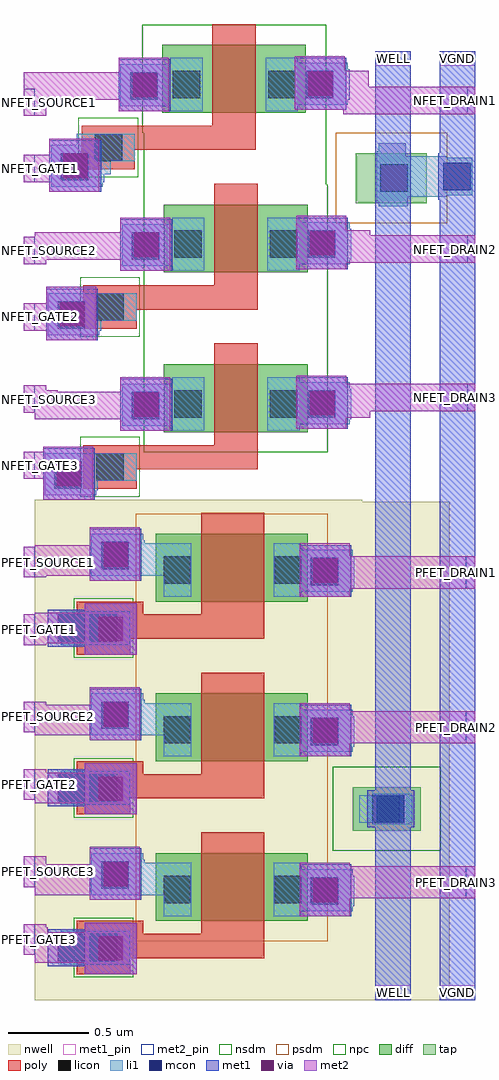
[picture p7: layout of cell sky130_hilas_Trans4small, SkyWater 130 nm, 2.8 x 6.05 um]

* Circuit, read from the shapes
.subckt sky130_hilas_Trans4small NFET_DRAIN1 NFET_DRAIN2 NFET_DRAIN3 NFET_GATE1 NFET_GATE2 NFET_GATE3 NFET_SOURCE1 NFET_SOURCE2 NFET_SOURCE3 PFET_DRAIN1 PFET_DRAIN2 PFET_DRAIN3 PFET_GATE1 PFET_GATE2 PFET_GATE3 PFET_SOURCE1 PFET_SOURCE2 PFET_SOURCE3 VGND WELL
XM1 NFET_DRAIN1 NFET_GATE1 NFET_SOURCE1 VGND sky130_fd_pr__nfet_01v8 w=0.42 l=0.27
XM2 NFET_DRAIN3 NFET_GATE3 NFET_SOURCE3 VGND sky130_fd_pr__nfet_01v8 w=0.42 l=0.27
XM3 NFET_DRAIN2 NFET_GATE2 NFET_SOURCE2 VGND sky130_fd_pr__nfet_01v8 w=0.42 l=0.27
XM4 PFET_DRAIN3 PFET_GATE3 PFET_SOURCE3 WELL sky130_fd_pr__pfet_01v8 w=0.42 l=0.39
XM5 PFET_DRAIN2 PFET_GATE2 PFET_SOURCE2 WELL sky130_fd_pr__pfet_01v8 w=0.42 l=0.39
XM6 PFET_DRAIN1 PFET_GATE1 PFET_SOURCE1 WELL sky130_fd_pr__pfet_01v8 w=0.42 l=0.39
.ends

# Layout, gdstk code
from math import pi, radians
import gdstk
lib = gdstk.Library(unit=1e-6, precision=1e-09)
def R(c, l, rs):  # rectangles x0, y0, x1, y1
    for r in rs: c.add(gdstk.rectangle(r[:2], r[2:], *l))
def A(c, l, x, y, w, h, nx, ny, dx, dy):  # array of equal rectangles
    R(c, l, [(x+i*dx, y+j*dy, x+i*dx+w, y+j*dy+h) for i in range(nx) for j in range(ny)])
nwell = (64, 20)
diff = (65, 20)
tap = (65, 44)
poly = (66, 20)
licon = (66, 44)
li1 = (67, 20)
mcon = (67, 44)
met1_pin = (68, 16)
met1 = (68, 20)
via = (68, 44)
met2_pin = (69, 16)
met2 = (69, 20)
nsdm = (93, 44)
psdm = (94, 20)
npc = (95, 20)

sky130_hilas_li2m2 = lib.new_cell('sky130_hilas_li2m2')
R(sky130_hilas_li2m2, li1, [(-0.13,-0.12,0.19,-0.09), (-0.13,-0.09,0.2,0.1), (-0.13,0.1,0.19,0.14)])
R(sky130_hilas_li2m2, mcon, [(-0.07,-0.08,0.1,0.09)])
R(sky130_hilas_li2m2, met1, [(-0.14,-0.15,0.18,0.17)])
R(sky130_hilas_li2m2, via, [(-0.055,-0.065,0.095,0.085)])
R(sky130_hilas_li2m2, met2, [(-0.14,-0.15,0.17,0.18)])

sky130_hilas_nfet03a = lib.new_cell('sky130_hilas_nFET03a')
R(sky130_hilas_nfet03a, diff, [(-0.31,-0.06,0.58,0.36)])
R(sky130_hilas_nfet03a, poly, [(-0.81,-0.41,-0.48,-0.29), (-0.81,-0.29,0.27,-0.14), (0,-0.14,0.27,0.49)])
R(sky130_hilas_nfet03a, licon, [(-0.73,-0.36,-0.56,-0.19), (-0.245,0.03,-0.075,0.2), (0.345,0.03,0.515,0.2)])
R(sky130_hilas_nfet03a, li1, [(-0.81,-0.36,-0.48,-0.19), (-0.26,-0.05,-0.06,0.28), (0.33,-0.05,0.53,0.28)])
R(sky130_hilas_nfet03a, met2, [(-1.11,0.02,-0.51,0.19), (0.75,0.03,0.97,0.2)])
R(sky130_hilas_nfet03a, nsdm, [(-0.435,-0.185,0.705,0.485)])
R(sky130_hilas_nfet03a, npc, [(-0.83,-0.46,-0.46,-0.09)])
sky130_hilas_nfet03a.add(gdstk.Reference(sky130_hilas_li2m2, (-0.44,0.1)))
sky130_hilas_nfet03a.add(gdstk.Reference(sky130_hilas_li2m2, (0.65,0.11)))

sky130_hilas_li2m1 = lib.new_cell('sky130_hilas_li2m1')
R(sky130_hilas_li2m1, li1, [(-0.08,-0.05,0.11,0.18)])
R(sky130_hilas_li2m1, mcon, [(-0.07,-0.02,0.1,0.15)])
R(sky130_hilas_li2m1, met1, [(-0.1,-0.08,0.13,0.21)])

sky130_hilas_poly2m2 = lib.new_cell('sky130_hilas_poly2m2')
R(sky130_hilas_poly2m2, poly, [(-0.09,-0.08,0.24,0.25)])
R(sky130_hilas_poly2m2, licon, [(-0.01,0,0.16,0.17)])
R(sky130_hilas_poly2m2, li1, [(-0.01,-0.2,0.16,-0.18), (-0.03,-0.18,0.18,0.25)])
R(sky130_hilas_poly2m2, mcon, [(-0.01,-0.2,0.16,-0.03)])
R(sky130_hilas_poly2m2, met1, [(-0.04,-0.26,0.19,-0.03), (-0.08,-0.03,0.24,0.29)])
R(sky130_hilas_poly2m2, via, [(0.005,0.055,0.155,0.205)])
R(sky130_hilas_poly2m2, met2, [(-0.08,-0.03,0.24,0.29)])
R(sky130_hilas_poly2m2, npc, [(-0.11,-0.1,0.26,0.27)])

sky130_hilas_pfetdevice0 = lib.new_cell('sky130_hilas_pFETdevice01e')
R(sky130_hilas_pfetdevice0, nwell, [(-1.21,-0.55,0.82,0.44)])
R(sky130_hilas_pfetdevice0, diff, [(-0.46,-0.19,0.48,0.23)])
R(sky130_hilas_pfetdevice0, poly, [(-0.8,-0.42,0.21,-0.27), (-0.8,-0.27,-0.54,-0.19), (-0.18,-0.27,0.21,0.36)])
R(sky130_hilas_pfetdevice0, licon, [(-0.41,-0.08,-0.24,0.09), (0.27,-0.08,0.44,0.09)])
R(sky130_hilas_pfetdevice0, li1, [(-0.41,-0.16,-0.24,-0.03), (0.27,-0.16,0.44,0.17), (-0.57,-0.03,-0.24,-0.01), (-0.55,-0.01,-0.24,0.17)])
R(sky130_hilas_pfetdevice0, met2, [(-1.21,-0.45,-0.83,-0.26), (-1.21,-0.03,-0.84,0.16)])
R(sky130_hilas_pfetdevice0, psdm, [(-0.585,-0.315,0.605,0.355)])
sky130_hilas_pfetdevice0.add(gdstk.Reference(sky130_hilas_poly2m2, (-0.87,-0.28), rotation=3*pi/2))
sky130_hilas_pfetdevice0.add(gdstk.Reference(sky130_hilas_li2m2, (-0.73,0.09)))
sky130_hilas_pfetdevice0.add(gdstk.Reference(sky130_hilas_li2m2, (0.57,-0.01)))

sky130_hilas_trans4small = lib.new_cell('sky130_hilas_Trans4small')
R(sky130_hilas_trans4small, nwell, [(1.98,-1.5,4.55,-1.32), (3.83,-1.32,4.55,-0.87), (4.01,-0.87,4.55,-0.45), (3.95,-0.45,4.55,-0.18), (4.01,-0.18,4.55,1.59)])
R(sky130_hilas_trans4small, tap, [(3.95,-0.45,4.37,-0.18), (3.97,3.44,4.41,3.75)])
R(sky130_hilas_trans4small, licon, [(4.07,-0.4,4.24,-0.23), (4.12,3.51,4.29,3.68)])
R(sky130_hilas_trans4small, li1, [(3.99,-0.4,4.32,-0.23), (4.11,3.42,4.29,3.45), (4.1,3.45,4.29,3.48), (4.1,3.48,4.53,3.73), (2.24,3.62,2.45,3.87), (4.1,3.73,4.28,3.76), (4.11,3.76,4.28,3.81)])
R(sky130_hilas_trans4small, met1_pin, [(4.09,-1.5,4.31,-1.41), (4.49,-1.5,4.71,-1.41), (4.09,4.29,4.31,4.38), (4.49,4.29,4.71,4.38)])
R(sky130_hilas_trans4small, met1, [(4.09,-1.5,4.31,-0.4), (4.49,-1.5,4.71,4.38), (4.07,-0.4,4.31,-0.23), (4.09,-0.23,4.31,4.38)])
A(sky130_hilas_trans4small, met2_pin, 4.65, -0.87, 0.06, 0.2, 1, 3, 0, 0.96)
A(sky130_hilas_trans4small, met2_pin, 4.66, 2.15, 0.05, 0.17, 1, 3, 0, 0.92)
R(sky130_hilas_trans4small, met2_pin, [(1.91,-1.22,1.98,-1.03), (1.91,-0.8,1.98,-0.61), (1.91,-0.26,1.98,-0.07), (1.91,0.16,1.98,0.35), (1.91,0.7,1.98,0.89), (1.91,1.12,1.98,1.31), (1.91,1.73,1.98,1.9), (1.91,2.14,1.98,2.31), (1.91,2.65,1.98,2.82), (1.91,3.06,1.98,3.23), (1.91,3.57,1.98,3.74), (1.91,3.98,1.98,4.15)])
A(sky130_hilas_trans4small, met2, 3.89, 2.15, 0.82, 0.17, 1, 3, 0, 0.92)
R(sky130_hilas_trans4small, met2, [(1.91,-1.22,2.06,-1.05), (1.91,-1.05,2.05,-1.03), (3.9,-0.87,4.71,-0.67), (1.91,-0.8,1.98,-0.66), (1.91,-0.66,2.05,-0.61), (1.91,-0.26,1.98,-0.09), (1.91,-0.09,2.05,-0.07), (3.91,0.09,4.71,0.29), (1.91,0.16,1.98,0.33), (1.91,0.33,2.05,0.35), (1.91,0.7,2.05,0.89), (3.91,1.05,4.71,1.25), (1.91,1.12,2.05,1.31), (1.91,1.73,2.07,1.9), (1.91,2.14,2.12,2.28), (1.91,2.28,2.05,2.31), (1.91,2.65,2.08,2.82), (1.91,3.06,2.05,3.23), (1.91,3.57,2.07,3.74), (1.91,3.98,2.05,4.21), (1.91,4.21,1.98,4.25)])
R(sky130_hilas_trans4small, nsdm, [(3.825,-0.575,4.495,-0.055), (2.655,2.565,3.795,2.885), (2.655,3.555,3.785,3.875)])
R(sky130_hilas_trans4small, psdm, [(2.605,-0.465,3.795,-0.145), (2.605,0.525,3.795,0.845), (3.845,3.315,4.535,3.875)])
sky130_hilas_trans4small.add(gdstk.Reference(sky130_hilas_nfet03a, (3.08,4.06)))
sky130_hilas_trans4small.add(gdstk.Reference(sky130_hilas_li2m1, (4.58,3.54)))
sky130_hilas_trans4small.add(gdstk.Reference(sky130_hilas_li2m2, (2.21,3.66)))
sky130_hilas_trans4small.add(gdstk.Reference(sky130_hilas_nfet03a, (3.09,3.07)))
sky130_hilas_trans4small.add(gdstk.Reference(sky130_hilas_li2m2, (2.19,2.74)))
sky130_hilas_trans4small.add(gdstk.Reference(sky130_hilas_nfet03a, (3.09,2.08)))
sky130_hilas_trans4small.add(gdstk.Reference(sky130_hilas_li2m2, (2.17,1.75)))
sky130_hilas_trans4small.add(gdstk.Reference(sky130_hilas_pfetdevice0, (3.19,1.16)))
sky130_hilas_trans4small.add(gdstk.Reference(sky130_hilas_li2m1, (4.12,-0.3), rotation=3*pi/2))
sky130_hilas_trans4small.add(gdstk.Reference(sky130_hilas_pfetdevice0, (3.19,-0.82)))
sky130_hilas_trans4small.add(gdstk.Reference(sky130_hilas_pfetdevice0, (3.19,0.17)))
sky130_hilas_trans4small.add(gdstk.Label('NFET_SOURCE1', (1.945,4.065), layer=69, texttype=16))
sky130_hilas_trans4small.add(gdstk.Label('NFET_GATE1', (1.945,3.655), layer=69, texttype=16))
sky130_hilas_trans4small.add(gdstk.Label('NFET_SOURCE2', (1.945,3.145), layer=69, texttype=16))
sky130_hilas_trans4small.add(gdstk.Label('NFET_GATE2', (1.945,2.735), layer=69, texttype=16))
sky130_hilas_trans4small.add(gdstk.Label('NFET_SOURCE3', (1.945,2.225), layer=69, texttype=16))
sky130_hilas_trans4small.add(gdstk.Label('NFET_GATE3', (1.945,1.815), layer=69, texttype=16))
sky130_hilas_trans4small.add(gdstk.Label('PFET_SOURCE1', (1.945,1.215), layer=69, texttype=16))
sky130_hilas_trans4small.add(gdstk.Label('PFET_GATE1', (1.945,0.795), layer=69, texttype=16))
sky130_hilas_trans4small.add(gdstk.Label('PFET_SOURCE2', (1.945,0.255), layer=69, texttype=16))
sky130_hilas_trans4small.add(gdstk.Label('PFET_GATE2', (1.945,-0.165), layer=69, texttype=16))
sky130_hilas_trans4small.add(gdstk.Label('PFET_SOURCE3', (1.945,-0.705), layer=69, texttype=16))
sky130_hilas_trans4small.add(gdstk.Label('PFET_GATE3', (1.945,-1.125), layer=69, texttype=16))
sky130_hilas_trans4small.add(gdstk.Label('WELL', (4.2,-1.455), layer=68, texttype=16))
sky130_hilas_trans4small.add(gdstk.Label('WELL', (4.2,4.335), layer=68, texttype=16))
sky130_hilas_trans4small.add(gdstk.Label('VGND', (4.6,-1.455), layer=68, texttype=16))
sky130_hilas_trans4small.add(gdstk.Label('VGND', (4.6,4.335), layer=68, texttype=16))
sky130_hilas_trans4small.add(gdstk.Label('PFET_DRAIN3', (4.68,-0.77), layer=69, texttype=16))
sky130_hilas_trans4small.add(gdstk.Label('PFET_DRAIN2', (4.68,0.19), layer=69, texttype=16))
sky130_hilas_trans4small.add(gdstk.Label('PFET_DRAIN1', (4.68,1.15), layer=69, texttype=16))
sky130_hilas_trans4small.add(gdstk.Label('NFET_DRAIN3', (4.685,2.235), layer=69, texttype=16))
sky130_hilas_trans4small.add(gdstk.Label('NFET_DRAIN2', (4.685,3.155), layer=69, texttype=16))
sky130_hilas_trans4small.add(gdstk.Label('NFET_DRAIN1', (4.685,4.075), layer=69, texttype=16))

lib.write_gds('sky130_hilas_Trans4small.gds')
